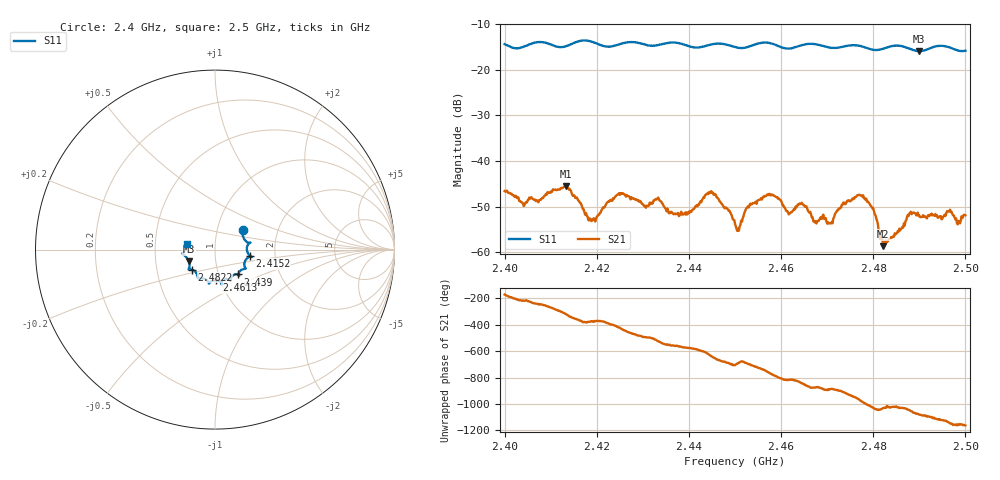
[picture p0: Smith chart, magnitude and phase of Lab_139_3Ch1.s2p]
# Hz S RI R 50
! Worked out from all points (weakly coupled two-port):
!   601 points, 2.4 GHz to 2.5 GHz, reference 50 ohm
!   highest |S21| = -45.44 dB at 2.4133 GHz (marker M1); lowest = -58.6 dB at 2.4822 GHz (marker M2)
!   lowest |S11| = -15.9 dB at 2.4898 GHz (marker M3), VSWR 1.38, Z = 37 - j5.03 ohm
!   |S11| at or under -10 dB: start of sweep to end of sweep
!   S12 and S22 are empty: the file has one direction only
!   S11 on the Smith chart (normalised r, x): 2.4 GHz: 1.33, +0.31; 2.4152 GHz: 1.48, -0.11; 2.439 GHz: 1.24, -0.35; 2.4613 GHz: 0.96, -0.34; 2.4822 GHz: 0.76, -0.17; 2.5 GHz: 0.73, +0.05
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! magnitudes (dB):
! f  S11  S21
! 2.4 GHz  -14.4  -46.6
! 2.4043 GHz  -14.9  -49.6
! 2.4133 GHz  -14.8  -45.4
! 2.4152 GHz  -14.1  -47.6
! 2.4167 GHz  -13.6  -49.6
! 2.4192 GHz  -13.9  -52.9
! 2.425 GHz  -14.4  -47.4
! 2.4333 GHz  -14.6  -48.0
! 2.439 GHz  -14.5  -51.5
! 2.4448 GHz  -14.4  -46.6
! 2.45 GHz  -15.0  -53.7
! 2.4572 GHz  -14.1  -47.3
! 2.4613 GHz  -15.3  -51.0
! 2.4645 GHz  -14.6  -49.1
! 2.4667 GHz  -14.3  -52.3
! 2.4707 GHz  -15.2  -53.6
! 2.4773 GHz  -14.8  -47.6
! 2.48 GHz  -15.6  -50.3
! 2.4822 GHz  -15.4  -58.6
! 2.4833 GHz  -15.0  -57.2
! 2.4898 GHz  -15.9  -52.0
! 2.5 GHz  -15.8  -51.9
